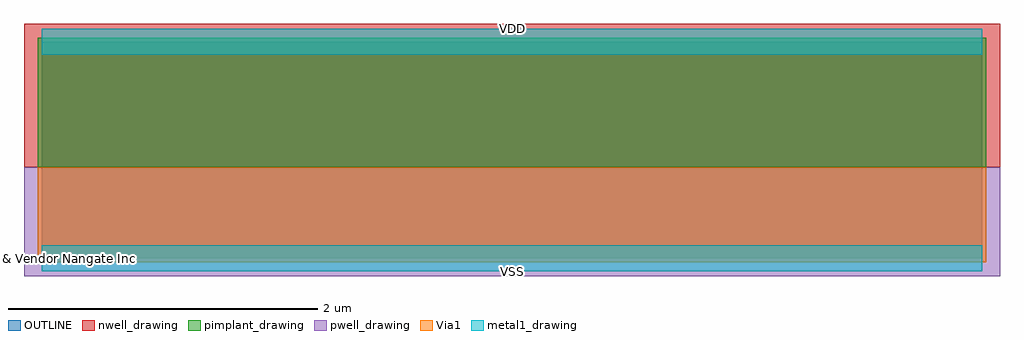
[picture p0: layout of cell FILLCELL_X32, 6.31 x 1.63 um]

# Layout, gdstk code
import gdstk
lib = gdstk.Library(unit=1e-6, precision=1e-10)
def R(c, l, rs):  # rectangles x0, y0, x1, y1
    for r in rs: c.add(gdstk.rectangle(r[:2], r[2:], *l))
pwell_drawing = (2, 0)
nwell_drawing = (3, 0)
Via1 = (4, 0)
pimplant_drawing = (5, 0)
metal1_drawing = (11, 0)
OUTLINE = (235, 0)

fillcell_x32 = lib.new_cell('FILLCELL_X32')
R(fillcell_x32, pwell_drawing, [(-0.115,-0.115,6.195,0.59)])
R(fillcell_x32, nwell_drawing, [(-0.115,0.59,6.195,1.515)])
R(fillcell_x32, Via1, [(-0.025,-0.025,6.105,0.59)])
R(fillcell_x32, pimplant_drawing, [(-0.025,0.59,6.105,1.425)])
R(fillcell_x32, metal1_drawing, [(0,-0.085,6.08,0.085), (0,1.315,6.08,1.485)])
R(fillcell_x32, OUTLINE, [(0,0,6.08,1.4)])
fillcell_x32.add(gdstk.Label('VDD', (3.04,1.485), layer=11, texttype=0))
fillcell_x32.add(gdstk.Label('VSS', (3.04,-0.085), layer=11, texttype=0))
fillcell_x32.add(gdstk.Label('& Vendor Nangate Inc', (0,0), layer=63, texttype=63))
fillcell_x32.add(gdstk.Label('& Product Open Cell Library', (0,0), layer=63, texttype=63))
fillcell_x32.add(gdstk.Label('& Version 2010_12', (0,0), layer=63, texttype=63))
fillcell_x32.add(gdstk.Label('& Instance FILLCELL_X32', (0,0), layer=63, texttype=63))

lib.write_gds('FILLCELL_X32.gds')
